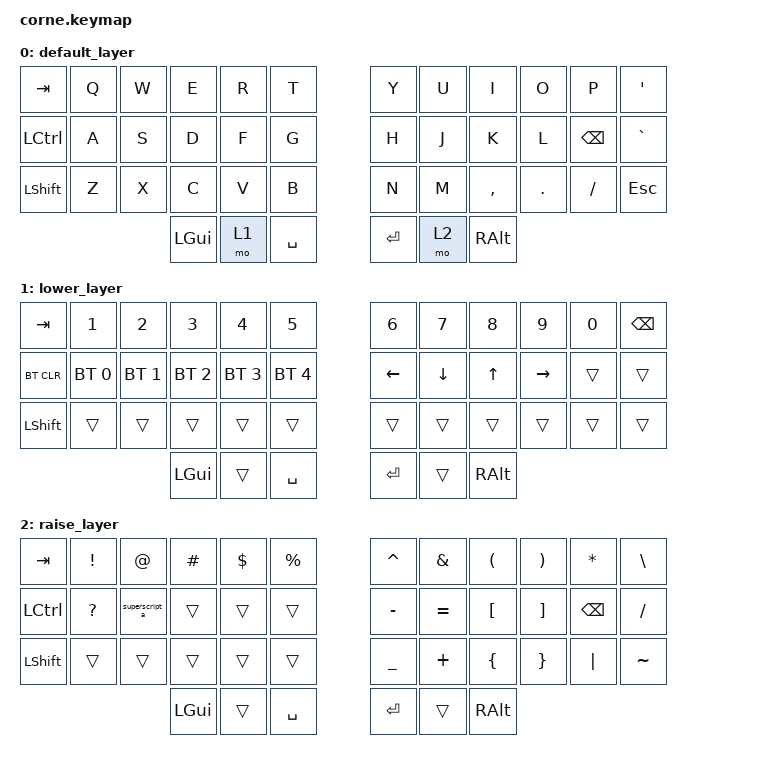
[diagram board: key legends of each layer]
/*
 * Copyright (c) 2020 The ZMK Contributors
 *
 * SPDX-License-Identifier: MIT
 */

#include <behaviors.dtsi>
#include <dt-bindings/zmk/bt.h>
#include <dt-bindings/zmk/keys.h>

/ {
    macros {
        superscript_a: superscript_a {
            compatible = "zmk,behavior-macro";
            #binding-cells = <0>;
            bindings =
                <&macro_press>,
                <&kp LEFT_ALT>,
                <&macro_tap>,
                <&kp N0 &kp N1 &kp N7 &kp N0>,
                <&macro_release>,
                <&kp LEFT_ALT>;
        };
    };

    keymap {
        compatible = "zmk,keymap";

        default_layer {
            // -----------------------------------------------------------------------------------------
            // |  TAB |  Q  |  W  |  E  |  R  |  T  |   |  Y  |  U   |  I  |  O  |  P  | BSPC |
            // | CTRL |  A  |  S  |  D  |  F  |  G  |   |  H  |  J   |  K  |  L  |  ;  |  '   |
            // | SHFT |  Z  |  X  |  C  |  V  |  B  |   |  N  |  M   |  ,  |  .  |  /  | ESC  |
            //                    | GUI | LWR | SPC |   | ENT | RSE  | ALT |

            bindings = <
&kp TAB    &kp Q  &kp W  &kp E     &kp R  &kp T        &kp Y    &kp U  &kp I      &kp O    &kp P     &kp SQT
&kp LCTRL  &kp A  &kp S  &kp D     &kp F  &kp G        &kp H    &kp J  &kp K      &kp L    &kp BSPC  &kp GRAVE
&kp LSHFT  &kp Z  &kp X  &kp C     &kp V  &kp B        &kp N    &kp M  &kp COMMA  &kp DOT  &kp FSLH  &kp ESC
                         &kp LGUI  &mo 1  &kp SPACE    &kp RET  &mo 2  &kp RALT
            >;
        };

        lower_layer {
            // -----------------------------------------------------------------------------------------
            // |  TAB |  1  |  2  |  3  |  4  |  5  |   |  6  |  7  |  8  |  9  |  0  | BSPC |
            // | BTCLR| BT1 | BT2 | BT3 | BT4 | BT5 |   | LFT | DWN |  UP | RGT |     |      |
            // | SHFT |     |     |     |     |     |   |     |     |     |     |     |      |
            //                    | GUI |     | SPC |   | ENT |     | ALT |

            bindings = <
&kp TAB     &kp N1        &kp N2        &kp N3        &kp N4        &kp N5          &kp N6    &kp N7    &kp N8    &kp N9     &kp N0  &kp BSPC
&bt BT_CLR  &bt BT_SEL 0  &bt BT_SEL 1  &bt BT_SEL 2  &bt BT_SEL 3  &bt BT_SEL 4    &kp LEFT  &kp DOWN  &kp UP    &kp RIGHT  &trans  &trans
&kp LSHFT   &trans        &trans        &trans        &trans        &trans          &trans    &trans    &trans    &trans     &trans  &trans
                                        &kp LGUI      &trans        &kp SPACE       &kp RET   &trans    &kp RALT
            >;
        };

        raise_layer {
            // -----------------------------------------------------------------------------------------
            // |  TAB |  !  |  @  |  #  |  $  |  %  |   |  ^  |  &  |  *  |  (  |  )  | BSPC |
            // | CTRL |     |     |     |     |     |   |  -  |  =  |  [  |  ]  |  \  |  `   |
            // | SHFT |     |     |     |     |     |   |  _  |  +  |  {  |  }  | "|" |  ~   |
            //                    | GUI |     | SPC |   | ENT |     | ALT |

            bindings = <
&kp TAB    &kp EXCL   &kp AT          &kp HASH  &kp DLLR  &kp PRCNT    &kp CARET  &kp AMPS   &kp LEFT_PARENTHESIS  &kp RIGHT_PARENTHESIS  &kp ASTERISK  &kp BSLH
&kp LCTRL  &kp QMARK  &superscript_a  &trans    &trans    &trans       &kp MINUS  &kp EQUAL  &kp LBKT              &kp RBKT               &kp BSPC      &kp FSLH
&kp LSHFT  &trans     &trans          &trans    &trans    &trans       &kp UNDER  &kp PLUS   &kp LBRC              &kp RBRC               &kp PIPE      &kp TILDE
                                      &kp LGUI  &trans    &kp SPACE    &kp RET    &trans     &kp RALT
            >;
        };
    };
};
